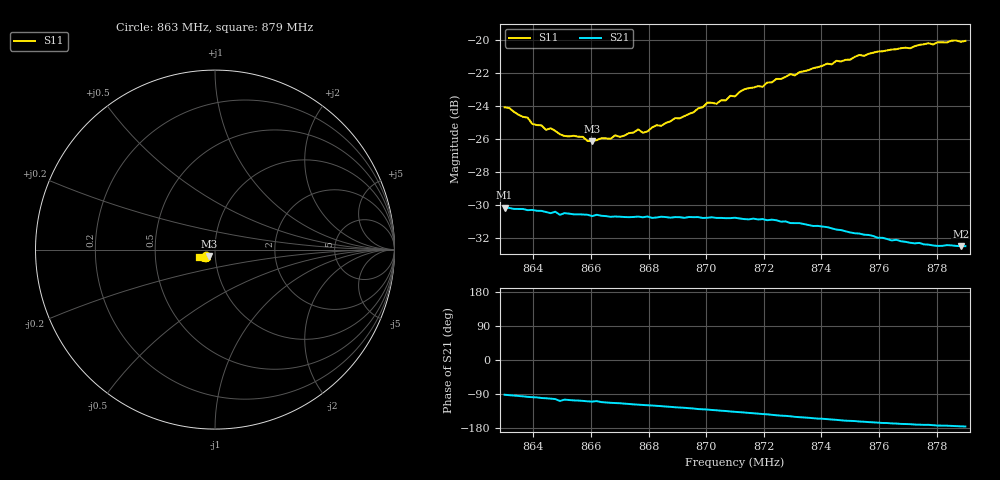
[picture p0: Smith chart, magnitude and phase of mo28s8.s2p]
# HZ S RI R 50
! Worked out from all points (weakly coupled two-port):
!   101 points, 863 MHz to 879 MHz, reference 50 ohm
!   highest |S21| = -30.17 dB at 863 MHz (marker M1); lowest = -32.5 dB at 878.84 MHz (marker M2)
!   lowest |S11| = -26.1 dB at 866.04 MHz (marker M3), VSWR 1.10, Z = 46.6 - j3.37 ohm
!   |S11| at or under -10 dB: start of sweep to end of sweep
!   S12 and S22 are empty: the file has one direction only
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8.63e8  -0.0527 -0.0334  -0.000872 -0.031  0 0  0 0
8.6444e8  -0.0415 -0.0335  -0.00572 -0.0295  0 0  0 0
8.646e8  -0.0419 -0.0339  -0.00616 -0.0292  0 0  0 0
8.6508e8  -0.037 -0.0353  -0.00752 -0.0288  0 0  0 0
8.6572e8  -0.0347 -0.0371  -0.00907 -0.0281  0 0  0 0
8.6604e8  -0.0336 -0.0361  -0.00988 -0.0275  0 0  0 0
8.67e8  -0.0302 -0.0408  -0.0118 -0.0266  0 0  0 0
8.6764e8  -0.03 -0.0443  -0.0136 -0.0257  0 0  0 0
8.678e8  -0.0291 -0.0434  -0.0139 -0.0254  0 0  0 0
8.6844e8  -0.028 -0.0472  -0.0153 -0.0247  0 0  0 0
8.6956e8  -0.0295 -0.0525  -0.0179 -0.0228  0 0  0 0
8.7004e8  -0.0311 -0.0565  -0.0188 -0.0218  0 0  0 0
8.7036e8  -0.0311 -0.0559  -0.0196 -0.0212  0 0  0 0
8.7084e8  -0.0343 -0.0583  -0.0206 -0.0201  0 0  0 0
8.71e8  -0.0338 -0.0582  -0.021 -0.0198  0 0  0 0
8.7132e8  -0.0361 -0.0608  -0.0214 -0.0189  0 0  0 0
8.7196e8  -0.0386 -0.0608  -0.0227 -0.0173  0 0  0 0
8.7244e8  -0.0423 -0.0632  -0.0235 -0.0159  0 0  0 0
8.7372e8  -0.0489 -0.0659  -0.0244 -0.0121  0 0  0 0
8.7644e8  -0.0715 -0.0601  -0.024 -0.00539  0 0  0 0
8.7884e8  -0.0878 -0.0449  -0.0236 -0.00206  0 0  0 0
8.79e8  -0.0892 -0.0434  -0.0236 -0.00185  0 0  0 0
